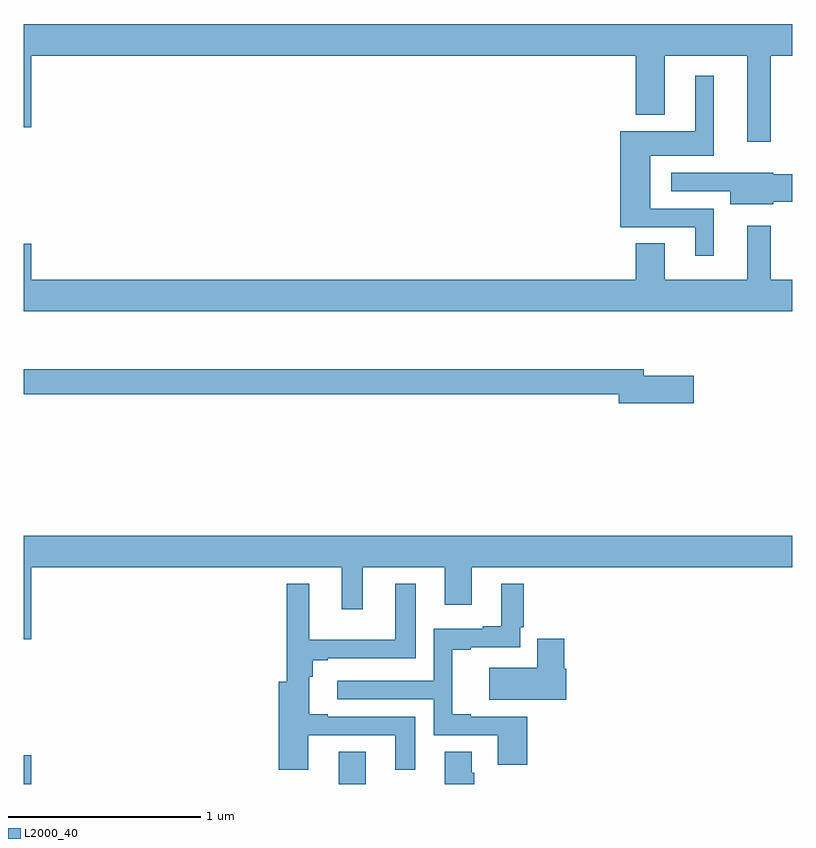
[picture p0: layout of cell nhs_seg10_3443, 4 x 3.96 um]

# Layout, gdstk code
import gdstk
lib = gdstk.Library(unit=1e-6, precision=1e-09)
def R(c, l, rs):  # rectangles x0, y0, x1, y1
    for r in rs: c.add(gdstk.rectangle(r[:2], r[2:], *l))
def P(c, l, *ps):  # polygons
    for p in ps: c.add(gdstk.Polygon(p, *l))
L2000_40 = (2000, 40)

nhs_seg10_3443 = lib.new_cell('nhs_seg10_3443')
R(nhs_seg10_3443, L2000_40, [(297,1320.5,297.04,1320.649), (298.64,1320.5,298.78,1320.668)])
P(nhs_seg10_3443, L2000_40, [(297,1323.918),(297.04,1323.918),(297.04,1324.292),(300.185,1324.292),(300.185,1323.983),(300.337,1323.983),(300.337,1324.292),(300.767,1324.292),(300.767,1323.843),(300.889,1323.843),(300.889,1324.292),(301,1324.292),(301,1324.456),(297,1324.456)],
  [(300.592,1323.495),(300.262,1323.495),(300.262,1323.77),(300.592,1323.77),(300.592,1324.186),(300.494,1324.186),(300.494,1323.898),(300.104,1323.898),(300.104,1323.399),(300.494,1323.399),(300.494,1323.249),(300.592,1323.249)],
  [(300.9,1323.532),(301,1323.532),(301,1323.674),(300.9,1323.674),(300.9,1323.682),(300.681,1323.682),(300.681,1323.681),(300.369,1323.681),(300.369,1323.585),(300.677,1323.585),(300.677,1323.518),(300.9,1323.518)],
  [(301,1323.124),(300.889,1323.124),(300.889,1323.406),(300.767,1323.406),(300.767,1323.124),(300.337,1323.124),(300.337,1323.314),(300.185,1323.314),(300.185,1323.124),(297.04,1323.124),(297.04,1323.313),(297,1323.313),(297,1322.96),(301,1322.96)],
  [(300.487,1322.625),(300.226,1322.625),(300.226,1322.659),(297,1322.659),(297,1322.53),(300.098,1322.53),(300.098,1322.483),(300.487,1322.483)],
  [(297.04,1321.628),(298.655,1321.628),(298.655,1321.41),(298.765,1321.41),(298.765,1321.628),(299.192,1321.628),(299.192,1321.434),(299.332,1321.434),(299.332,1321.628),(301,1321.628),(301,1321.792),(297,1321.792),(297,1321.254),(297.04,1321.254)],
  [(298.48,1320.753),(298.934,1320.753),(298.934,1320.573),(299.038,1320.573),(299.038,1320.849),(298.582,1320.849),(298.582,1320.862),(298.486,1320.862),(298.486,1321.058),(298.504,1321.058),(298.504,1321.143),(298.582,1321.143),(298.582,1321.155),(299.041,1321.155),(299.041,1321.543),(298.934,1321.543),(298.934,1321.252),(298.486,1321.252),(298.486,1321.543),(298.368,1321.543),(298.368,1321.033),(298.328,1321.033),(298.328,1320.573),(298.48,1320.573)],
  [(299.621,1320.849),(299.326,1320.849),(299.326,1320.862),(299.231,1320.862),(299.231,1321.2),(299.326,1321.2),(299.326,1321.212),(299.583,1321.212),(299.583,1321.315),(299.603,1321.315),(299.603,1321.543),(299.486,1321.543),(299.486,1321.321),(299.39,1321.321),(299.39,1321.308),(299.133,1321.308),(299.133,1321.038),(298.632,1321.038),(298.632,1320.942),(299.133,1320.942),(299.133,1320.753),(299.468,1320.753),(299.468,1320.6),(299.621,1320.6)],
  [(299.825,1321.101),(299.813,1321.101),(299.813,1321.255),(299.672,1321.255),(299.672,1321.105),(299.424,1321.105),(299.424,1320.938),(299.825,1320.938)],
  [(299.345,1320.558),(299.332,1320.558),(299.332,1320.668),(299.192,1320.668),(299.192,1320.5),(299.345,1320.5)])

lib.write_gds('nhs_seg10_3443.gds')
